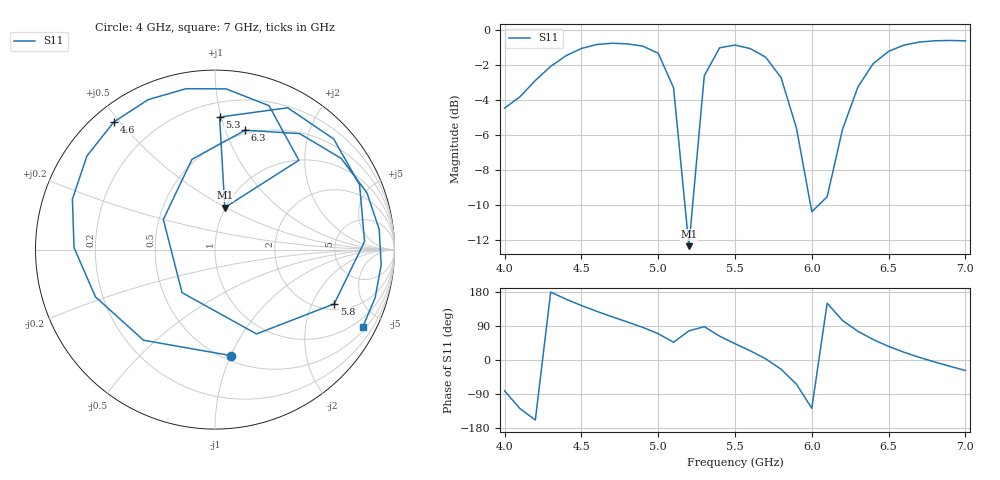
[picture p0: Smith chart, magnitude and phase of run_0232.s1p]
! Touchstone file exported from HFSS 2024.2.0
!  File:  C:/Users/wsak9/Desktop/Sim Fast/Widenad Patch/WP_AI_V1_sweep.aedt
!  Generated:  12:42:37 AM Oct 14, 2026
!  Design:  A1_model
!  Project:  WP_AI_V1_sweep
!  Setup:  Setup1
!  Solution:  Sweep
! Variables:
!  Air_gap = 2.58mm
!  Curve_Amp1 = 3.4
!  Curve_len1 = 1
!  Curve_pos = 11.375mm
!  Extra = 6.81mm
!  H_sub = 0.79mm
!  L_Patch = 18.75mm
!  L_Patch1 = 23.1mm
!  Sx = 3.4mm
!  Sy = 3.87mm
!  WS = 0.31mm
!  W_Patch = 16.83mm
!  W_Patch1 = 16.29mm
!Data is not renormalized
# GHz S MA
! Terminal data exported
! Port[1] = 1
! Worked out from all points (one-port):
!   31 points, 4 GHz to 7 GHz, reference per port
!   lowest |S11| = -12.4 dB at 5.2 GHz (marker M1), VSWR 1.63
!   |S11| at or under -10 dB: 5.174 GHz to 5.224 GHz (50.49 MHz wide, 0.971 % of centre); 5.992 GHz to 6.047 GHz (55.24 MHz wide, 0.918 % of centre)
!   S11 on the Smith chart (normalised r, x): 4 GHz: 0.55, -1.00; 4.6 GHz: 0.06, +0.48; 5.3 GHz: 0.30, +0.99; 5.8 GHz: 2.29, -2.96; 6.3 GHz: 0.47, +1.17; 7 GHz: 0.63, -3.96
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4  0.5972 -81.5
4.1  0.6432 -128.3
4.2  0.7161 -158.4
4.3  0.7855 179.2
4.4  0.8427 160.5
4.6  0.9073 128.4
4.8  0.9108 100.2
4.9  0.8976 86.1
5  0.8564 69.4
5.1  0.6825 46.8
5.2  0.2407 76.9
5.3  0.7389 88.0
5.4  0.8878 62.9
5.5  0.9041 43.0
5.6  0.8829 24.2
5.7  0.8345 3.1
5.8  0.7296 -24.5
5.9  0.5237 -63.8
6  0.302 -127.4
6.1  0.3331 149.8
6.2  0.5191 104.3
6.3  0.686 75.8
6.4  0.8002 53.9
6.5  0.8674 35.8
6.6  0.9036 20.5
6.7  0.9217 7.0
6.8  0.9297 -5.2
7  0.9293 -27.7
